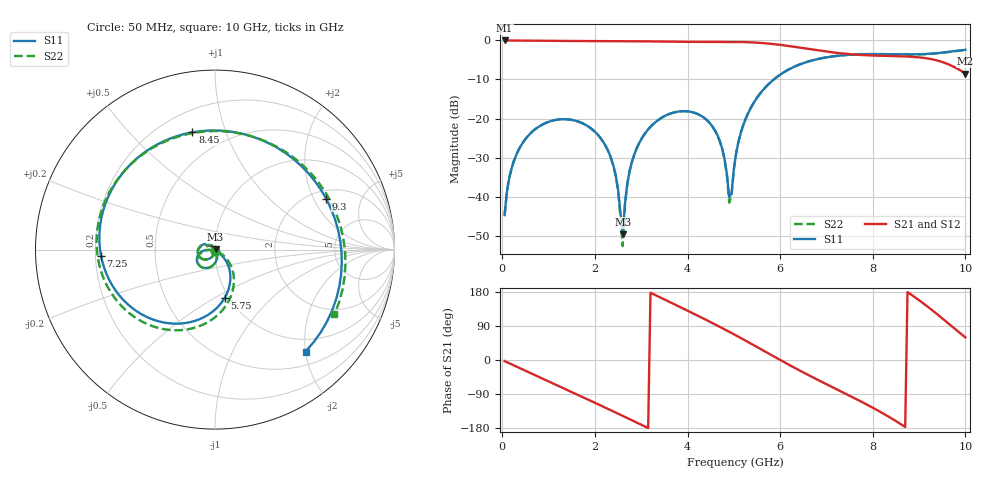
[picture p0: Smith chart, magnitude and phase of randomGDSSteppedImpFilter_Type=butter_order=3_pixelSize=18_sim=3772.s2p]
! freq	dB(S11)	phase(S11)	dB(S12)	phase(S12)
!  dB(S21)	phase(S21)	dB(S22)	phase(S22)
!S-par simulation data
#  GHz  S  DB  R 50
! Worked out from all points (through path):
!   200 points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, 50 MHz to 10 GHz, reference 50 ohm
!   highest |S21| = 0.00 dB at 50 MHz (marker M1); lowest = -8.5 dB at 10 GHz (marker M2)
!   group delay of S21, straight-line fit = 177 ps
!   lowest |S11| = -49.7 dB at 2.6 GHz (marker M3), VSWR 1.01, Z = 50.3 + j0.0725 ohm
!   |S11| at or under -10 dB: start of sweep to 5.863 GHz
!   |S22| runs from -52.7 to -2.4 dB; largest |S21 - S12| = 0
!   S11 on the Smith chart (normalised r, x): 50 MHz: 1.00, -0.01; 5.75 GHz: 0.95, -0.56; 7.25 GHz: 0.22, -0.03; 8.45 GHz: 0.33, +0.77; 9.3 GHz: 2.38, +2.52; 10 GHz: 0.75, -2.00
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0.05  -44.77 -92.1  -0.00 -2.9  -0.00 -2.9  -44.69 -92.0
0.2  -32.80 -101.4  -0.01 -11.4  -0.01 -11.4  -32.73 -101.2
0.55  -24.55 -121.8  -0.05 -31.2  -0.05 -31.2  -24.51 -121.2
1.75  -21.32 168.7  -0.15 -98.6  -0.15 -98.6  -21.33 172.1
2.35  -30.20 130.6  -0.16 -132.9  -0.16 -132.9  -30.27 140.2
2.5  -38.13 113.8  -0.17 -141.6  -0.17 -141.6  -38.44 136.0
2.6  -49.68 12.7  -0.18 -147.4  -0.18 -147.4  -52.71 -112.9
2.65  -41.74 -40.3  -0.18 -150.3  -0.18 -150.3  -41.91 -71.1
2.8  -31.09 -64.5  -0.20 -159.1  -0.20 -159.1  -31.04 -71.4
3.4  -20.11 -104.1  -0.29 165.7  -0.29 165.7  -20.10 -103.5
4.5  -21.45 -168.3  -0.36 99.8  -0.36 99.8  -21.47 -165.2
4.75  -27.77 -178.1  -0.35 84.1  -0.35 84.1  -27.88 -175.6
4.9  -40.19 -142.5  -0.36 74.5  -0.36 74.5  -41.56 -141.4
5.05  -28.88 -42.1  -0.38 64.6  -0.38 64.6  -28.85 -34.3
5.3  -18.86 -50.1  -0.45 47.9  -0.45 47.9  -18.83 -43.4
5.75  -11.20 -78.9  -0.80 17.2  -0.80 17.2  -11.18 -71.4
6.7  -5.10 -142.0  -2.34 -45.4  -2.34 -45.4  -5.07 -131.4
7.25  -3.93 -176.8  -3.22 -79.1  -3.22 -79.1  -3.91 -163.7
8.35  -3.52 108.6  -3.98 -150.1  -3.98 -150.1  -3.52 128.8
8.45  -3.54 100.9  -4.00 -157.5  -4.00 -157.5  -3.54 121.8
9.3  -3.33 24.6  -4.88 129.7  -4.88 129.7  -3.41 48.4
10  -2.39 -48.4  -8.49 59.7  -8.49 59.7  -2.42 -28.5
